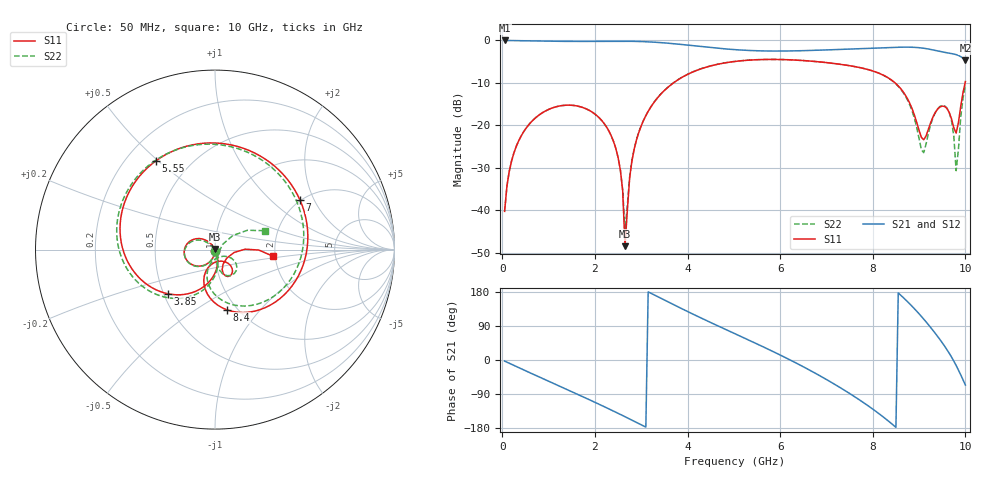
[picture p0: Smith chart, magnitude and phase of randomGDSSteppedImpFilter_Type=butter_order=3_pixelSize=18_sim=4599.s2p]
! freq	dB(S11)	phase(S11)	dB(S12)	phase(S12)
!  dB(S21)	phase(S21)	dB(S22)	phase(S22)
!S-par simulation data
#  GHz  S  DB  R 50
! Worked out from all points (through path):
!   200 points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, 50 MHz to 10 GHz, reference 50 ohm
!   highest |S21| = -0.01 dB at 50 MHz (marker M1); lowest = -4.7 dB at 10 GHz (marker M2)
!   group delay of S21, straight-line fit = 189 ps
!   lowest |S11| = -48.5 dB at 2.65 GHz (marker M3), VSWR 1.01, Z = 49.9 + j0.362 ohm
!   |S11| at or under -10 dB: start of sweep to 3.697 GHz; 8.48 GHz to 9.994 GHz (1.513 GHz wide, 16.4 % of centre)
!   |S22| runs from -44.7 to -4.5 dB; largest |S21 - S12| = 0
!   S11 on the Smith chart (normalised r, x): 50 MHz: 1.00, -0.02; 3.85 GHz: 0.53, -0.30; 5.55 GHz: 0.32, +0.49; 7 GHz: 1.98, +1.56; 8.4 GHz: 0.90, -0.68; 10 GHz: 1.96, -0.17
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0.05  -40.29 -92.2  -0.01 -2.9  -0.01 -2.9  -40.29 -92.1
0.2  -28.42 -101.4  -0.03 -11.4  -0.03 -11.4  -28.42 -101.0
0.55  -20.16 -122.0  -0.08 -31.0  -0.08 -31.0  -20.16 -121.1
1.75  -15.86 170.3  -0.23 -97.5  -0.23 -97.5  -15.86 173.6
2.45  -25.40 129.1  -0.18 -137.7  -0.18 -137.7  -25.42 137.4
2.6  -35.44 118.8  -0.18 -146.6  -0.18 -146.6  -35.33 138.9
2.65  -48.49 105.2  -0.18 -149.6  -0.18 -149.6  -44.67 179.6
2.85  -25.53 -74.0  -0.22 -161.8  -0.22 -161.8  -25.44 -75.4
3.4  -12.93 -108.8  -0.49 164.4  -0.49 164.4  -12.91 -104.8
3.85  -8.89 -136.7  -0.93 136.9  -0.93 136.9  -8.88 -131.1
5.05  -4.92 152.7  -2.19 67.8  -2.19 67.8  -4.91 162.7
5.55  -4.52 123.5  -2.45 39.6  -2.45 39.6  -4.51 135.7
6.7  -4.91 50.9  -2.35 -30.9  -2.35 -30.9  -4.90 67.9
7  -5.22 30.2  -2.24 -51.5  -2.24 -51.5  -5.22 47.8
7.7  -6.36 -21.4  -1.97 -104.2  -1.97 -104.2  -6.35 -4.5
8.35  -8.93 -74.3  -1.68 -162.3  -1.68 -162.3  -8.96 -61.9
8.4  -9.30 -78.6  -1.66 -167.3  -1.66 -167.3  -9.34 -66.7
9.1  -23.40 -75.2  -1.84 108.0  -1.84 108.0  -26.44 -59.3
9.25  -19.38 -46.1  -2.12 85.9  -2.12 85.9  -19.83 -27.5
9.6  -16.02 -68.1  -2.90 27.7  -2.90 27.7  -15.91 -65.2
9.8  -21.83 -36.0  -3.34 -14.3  -3.34 -14.3  -30.69 -57.1
10  -9.68 -6.7  -4.73 -66.0  -4.73 -66.0  -10.50 20.7
